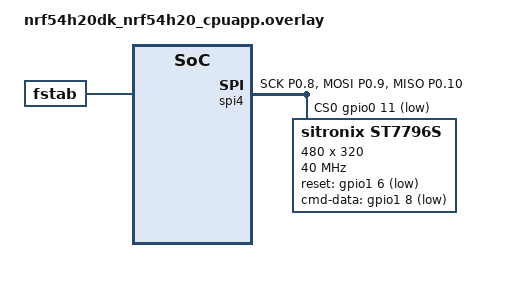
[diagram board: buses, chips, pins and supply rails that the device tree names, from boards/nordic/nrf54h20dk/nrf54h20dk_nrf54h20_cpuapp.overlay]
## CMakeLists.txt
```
# SPDX-License-Identifier: Apache-2.0

cmake_minimum_required(VERSION 3.20.0)

find_package(Zephyr REQUIRED HINTS $ENV{ZEPHYR_BASE})
project(pcd68_zephyr)

# Get the parent directory path for PCD68 sources
get_filename_component(PCD68_ROOT "${CMAKE_CURRENT_SOURCE_DIR}/.." ABSOLUTE)

# Add include directories
target_include_directories(app PRIVATE 
    ${PCD68_ROOT}/src
    ${PCD68_ROOT}/src/Moira
    ${CMAKE_CURRENT_SOURCE_DIR}/src
)

# Core PCD68 sources (relative to parent directory)
if(CONFIG_PCD68_USE_LIGHTWEIGHT_VM)
    # Use lightweight VM for embedded targets with limited flash
    target_sources(app PRIVATE
        ${PCD68_ROOT}/src/PCD68_VM.cpp
        ${PCD68_ROOT}/src/TDA.cpp
        ${PCD68_ROOT}/src/KCTL.cpp
        ${PCD68_ROOT}/src/Screen.cpp
    )
else()
    # Use full Moira 68000 emulator
    target_sources(app PRIVATE
        ${PCD68_ROOT}/src/PCD68_CPU.cpp
        ${PCD68_ROOT}/src/TDA.cpp
        ${PCD68_ROOT}/src/KCTL.cpp
        ${PCD68_ROOT}/src/Screen.cpp
        ${PCD68_ROOT}/src/Moira/Moira.cpp
        ${PCD68_ROOT}/src/Moira/MoiraDebugger.cpp
    )
endif()

# Zephyr-specific implementations
target_sources(app PRIVATE
    src/main.cpp
    src/Screen_Zephyr.cpp
    src/Storage_Zephyr.cpp
    src/UART_Zephyr.cpp
)

# Conditional keyboard input implementation
if(CONFIG_PCD68_KEYBOARD_TYPE STREQUAL "BLE_GATT")
    target_sources(app PRIVATE src/KeyboardInput_BLE.cpp)
else()
    target_sources(app PRIVATE src/KeyboardInput_Zephyr.cpp)
endif()

# Set C++ standard
set_property(TARGET app PROPERTY CXX_STANDARD 17)

# Compiler flags for the 68000 emulation - debug build
target_compile_options(app PRIVATE
    -Wno-narrowing
    -DUSE_ZEPHYR=1
    -DNRF54H20_TARGET=1
    -Og               # Debug-friendly optimization
    -g3               # Maximum debug info
    -fno-omit-frame-pointer  # Keep frame pointers for debugging
    -fno-exceptions
    -fno-rtti
    # Removed -flto and aggressive optimizations for debugging
)

# For nRF54H20 specific optimizations - let Zephyr handle floating-point ABI
if(CONFIG_SOC_SERIES_NRF54HX)
    target_compile_options(app PRIVATE
        -mcpu=cortex-m33
        -mthumb
        # Let Zephyr handle floating-point settings to avoid ABI conflicts
    )
endif()
```

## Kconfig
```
# PCD68 Zephyr Configuration

mainmenu "PCD68 Emulator Configuration"

config PCD68_RAM_SIZE_MB
    int "RAM size in megabytes"
    default 4
    range 1 8
    help
      Amount of RAM to allocate for the emulated system in megabytes.
      Default is 4MB which matches the original PCD68 specification.

config PCD68_ROM_SIZE_KB
    int "ROM size in kilobytes"
    default 64
    range 32 256
    help
      Size of ROM space in kilobytes. Default is 64KB.

config PCD68_ENABLE_EINK_EMULATION
    bool "Enable E-Ink display emulation"
    default y
    help
      Enable E-Ink display characteristics emulation (ghosting, refresh delays).
      Disable for faster display updates.

config PCD68_EINK_PARTIAL_REFRESH
    bool "Enable E-Ink partial refresh"
    default y
    depends on PCD68_ENABLE_EINK_EMULATION
    help
      Enable partial refresh for E-paper displays to reduce ghosting
      and improve battery life. Only refreshes changed regions.

config PCD68_EINK_REFRESH_RATE_MS
    int "E-Ink refresh rate in milliseconds"
    default 2000
    range 100 10000
    depends on PCD68_ENABLE_EINK_EMULATION
    help
      Minimum time between full E-paper refreshes in milliseconds.
      Typical values: 1000-5000ms for E-paper, 33ms for LCD.

config PCD68_EINK_PARTIAL_THRESHOLD
    int "Partial refresh threshold percentage"
    default 25
    range 1 100
    depends on PCD68_EINK_PARTIAL_REFRESH
    help
      Maximum percentage of screen that can change before forcing
      a full refresh instead of partial refresh. Lower values
      favor partial refreshes.

config PCD68_EINK_GHOSTING_EMULATION
    bool "Enable E-Ink ghosting emulation"
    default n
    depends on PCD68_ENABLE_EINK_EMULATION
    help
      Emulate E-paper ghosting effects for authentic retro feel.
      May impact performance.

config PCD68_DISPLAY_DRIVER
    string "Display driver selection"
    default "ST7796S" if BOARD_NRF54H20DK_NRF54H20_CPUAPP
    default "ILI9341" if BOARD_ESP32S3_DEVKITM
    help
      Select the display driver to use. Options include:
      - ST7796S (480x320 SPI LCD, 4-inch)
      - ILI9341 (320x240 SPI LCD)
      - EPD (E-paper display)
      - SSD1306 (OLED)

config PCD68_DISPLAY_SPI_FREQUENCY
    int "Display SPI frequency in Hz"
    default 32000000 if BOARD_NRF54H20DK_NRF54H20_CPUAPP
    default 40000000
    range 1000000 80000000
    help
      SPI frequency for display communication in Hz.

config PCD68_KEYBOARD_TYPE
    string "Keyboard input type"
    default "BLE_GATT" if BOARD_NRF54H20DK_NRF54H20_CPUAPP
    default "USB_HID"
    help
      Select keyboard input method:
      - BLE_GATT (Bluetooth GATT HID keyboard)
      - USB_HID (USB keyboard via ESP32-S3 USB host)
      - I2C_KEYBOARD (I2C-based keyboard controller)
      - UART_TERMINAL (Serial terminal input)
      - MATRIX (GPIO matrix keyboard)

config PCD68_KEYBOARD_TYPE_BLE_GATT
    bool
    default y if PCD68_KEYBOARD_TYPE = "BLE_GATT"
    help
      Internal configuration option for BLE GATT keyboard type.

config PCD68_ENABLE_UART1
    bool "Enable UART1"
    default y
    help
      Enable the first UART peripheral.

config PCD68_ENABLE_UART2
    bool "Enable UART2"
    default n
    help
      Enable the second UART peripheral.

config PCD68_UART1_DEVICE
    string "UART1 device"
    default "UART_2"
    depends on PCD68_ENABLE_UART1
    help
      Device name for UART1 (e.g., UART_2 for ESP32-S3).

config PCD68_UART2_DEVICE
    string "UART2 device"
    default "UART_1"
    depends on PCD68_ENABLE_UART2
    help
      Device name for UART2.

config PCD68_STORAGE_TYPE
    string "Storage type for ROMs"
    default "FLASH"
    help
      Storage location for ROM files:
      - FLASH (Internal flash partition)
      - SDCARD (SD card via SPI)
      - LITTLEFS (LittleFS filesystem)

config PCD68_DEFAULT_ROM
    string "Default ROM to load"
    default "jonsharp.bin"
    help
      Name of the default ROM file to load at startup.

config PCD68_ENABLE_WIFI
    bool "Enable WiFi support"
    default n
    select WIFI
    select WIFI_ESP32
    help
      Enable WiFi for network features (future: telnet, file transfer).

config PCD68_ENABLE_BLUETOOTH
    bool "Enable Bluetooth support"
    default n
    select BT
    select BT_PERIPHERAL
    help
      Enable Bluetooth for wireless keyboard/serial support.

config PCD68_CPU_THROTTLE
    bool "Enable CPU throttling"
    default y
    help
      Throttle the 68000 CPU to approximate original speed.
      Disable for maximum emulation speed.

config PCD68_TARGET_CPU_MHZ
    int "Target CPU speed in MHz"
    default 8
    range 1 16
    depends on PCD68_CPU_THROTTLE
    help
      Target 68000 CPU speed in MHz for throttling.

config PCD68_DEBUG_LEVEL
    int "Debug output level"
    default 1
    range 0 3
    help
      Debug output verbosity:
      0 - No debug output
      1 - Basic status messages
      2 - Detailed peripheral access
      3 - Full CPU trace

config PCD68_USE_LIGHTWEIGHT_VM
    bool "Use lightweight VM instead of full 68000 emulation"
    default y if SOC_SERIES_NRF54HX
    help
      Use a lightweight bytecode VM instead of full Moira 68000 emulation.
      This drastically reduces flash usage but requires programs to be
      compiled to VM bytecode instead of native 68000 machine code.

source "Kconfig.zephyr"
```

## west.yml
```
manifest:
  version: "0.13"

  projects:
    # Use local nRF Connect SDK 3.1-branch
    - name: nrf
      url: file:///mnt2/src/sdk-nrf
      revision: v3.1-branch
      import: true

  self:
    path: zephyr-pcd68-nrf54
```

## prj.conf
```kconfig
# nRF54H20-DK Configuration for PCD68 Model 4 CyberTerminal

# Board configuration - let west handle board selection

# System - minimal for flash size
CONFIG_MAIN_STACK_SIZE=2048
CONFIG_SYSTEM_WORKQUEUE_STACK_SIZE=1024
CONFIG_HEAP_MEM_POOL_SIZE=8192

# C++ Support
CONFIG_CPP=y
CONFIG_STD_CPP17=y
CONFIG_CPP_EXCEPTIONS=n
CONFIG_CPP_RTTI=n

# Logging - verbose for debugging
CONFIG_LOG=y
CONFIG_LOG_DEFAULT_LEVEL=3
CONFIG_LOG_BUFFER_SIZE=2048
CONFIG_LOG_PRINTK=y
# Log string duplication settings (removed - not available in this version)

# Console - enabled for debugging
CONFIG_CONSOLE=y
CONFIG_UART_CONSOLE=y
CONFIG_SERIAL=y
# RTT console for J-Link debugging - disabled due to dependency issues
# CONFIG_USE_SEGGER_RTT=y
# CONFIG_RTT_CONSOLE=y

# SPI for Display
CONFIG_SPI=y
CONFIG_SPI_NRFX=y
CONFIG_GPIO=y

# Display Subsystem - temporarily disabled due to ST7796S driver compatibility
CONFIG_DISPLAY=n

# ST7796S LCD Display Driver (4" 480x320) - temporarily disabled
# CONFIG_ST7796S=y

# Bluetooth Support - temporarily disabled to save flash
# Will re-enable after getting basic emulator working
CONFIG_BT=n
# CONFIG_BT_CENTRAL=y
# CONFIG_BT_GATT_CLIENT=y
# CONFIG_BT_DEVICE_NAME="PCD68-Model4"
# CONFIG_BT_DEVICE_APPEARANCE=768
# CONFIG_BT_MAX_CONN=1
# CONFIG_BT_MAX_PAIRED=1
# CONFIG_BT_HOGP=y
# CONFIG_BT_HOGP_REPORTS_MAX=1
# CONFIG_BT_SCAN=y
# CONFIG_BT_SCAN_FILTER_ENABLE=n
# CONFIG_BT_SCAN_UUID_CNT=1
# CONFIG_BT_GATT_DM=y
# CONFIG_BT_SETTINGS=n
# CONFIG_BT_SMP=n
# CONFIG_BT_PRIVACY=n

# Flash & Storage - minimal (no persistent settings needed)
CONFIG_FLASH=y
CONFIG_FLASH_MAP=y
CONFIG_FLASH_PAGE_LAYOUT=y
# Disable NVS and Settings subsystem to save space
CONFIG_NVS=n
CONFIG_SETTINGS=n

# File Systems - temporarily disabled to save space
# CONFIG_FILE_SYSTEM=y
# CONFIG_FILE_SYSTEM_LITTLEFS=y
# CONFIG_FILE_SYSTEM_MKFS=y

# Timing
CONFIG_COUNTER=y

# Debug configuration for J-Link debugging
CONFIG_SIZE_OPTIMIZATIONS=n
CONFIG_DEBUG_OPTIMIZATIONS=y
CONFIG_DEBUG_INFO=y
# Enable debug symbols and DWARF debugging

# PCD68 Specific Configuration - reduced for nRF54H20
CONFIG_PCD68_RAM_SIZE_MB=1
CONFIG_PCD68_ROM_SIZE_KB=32

# Display Configuration
CONFIG_PCD68_ENABLE_EINK_EMULATION=n
CONFIG_PCD68_DISPLAY_DRIVER="ST7796S"
CONFIG_PCD68_DISPLAY_SPI_FREQUENCY=40000000

# Input Configuration - stub for now
CONFIG_PCD68_KEYBOARD_TYPE="STUB"

# Peripheral Configuration
CONFIG_PCD68_ENABLE_UART1=y
CONFIG_PCD68_ENABLE_UART2=n

# Storage Configuration
CONFIG_PCD68_STORAGE_TYPE="LITTLEFS"
CONFIG_PCD68_DEFAULT_ROM="frst_net.bin"

# CPU Emulation Configuration - Higher performance for Cortex-M33
CONFIG_PCD68_CPU_THROTTLE=y
CONFIG_PCD68_TARGET_CPU_MHZ=12
CONFIG_PCD68_DEBUG_LEVEL=3
CONFIG_PCD68_USE_LIGHTWEIGHT_VM=n

# Power Management (disabled for consistent emulation)
CONFIG_PM=n

# Watchdog - disable to save space
CONFIG_WATCHDOG=n

# Nordic nRF54H20 specific
CONFIG_NORDIC_QSPI_NOR=n

# Disable unnecessary Zephyr subsystems to save flash space (safe options only)
CONFIG_POSIX_API=n
CONFIG_REQUIRES_FULL_LIBC=n
CONFIG_NEWLIB_LIBC=n

# Enable debugging features
CONFIG_THREAD_MONITOR=y
CONFIG_THREAD_NAME=y
CONFIG_THREAD_RUNTIME_STATS=y
CONFIG_THREAD_ANALYZER=y
# Enable kernel object tracing for debugging - disabled (not available in this Zephyr version)
# CONFIG_OBJECT_TRACING=y

# Enable shell for debugging
CONFIG_SHELL=y
# Boot banner disabled due to dependency conflicts
# CONFIG_BOOT_BANNER=y
# Shell history for easier debugging
CONFIG_SHELL_HISTORY=y
CONFIG_SHELL_HISTORY_BUFFER=512

# Disable advanced timing features not needed
CONFIG_SYS_CLOCK_EXISTS=y
CONFIG_TICKLESS_KERNEL=n

# Disable additional features to save space
CONFIG_TEST=n
CONFIG_ZTEST=n
CONFIG_COVERAGE=n
CONFIG_INPUT=n

# Minimal interrupt handling
CONFIG_DYNAMIC_INTERRUPTS=n
CONFIG_GEN_IRQ_VECTOR_TABLE=y
CONFIG_IRQ_OFFLOAD=n

# Disable other non-essential features
CONFIG_PIPES=n
CONFIG_STACK_CANARIES=n
```

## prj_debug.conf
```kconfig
# nRF54H20-DK Debug Configuration for PCD68 Model 4 CyberTerminal

# Board configuration - let west handle board selection

# System - debug-friendly
CONFIG_MAIN_STACK_SIZE=4096
CONFIG_SYSTEM_WORKQUEUE_STACK_SIZE=2048
CONFIG_HEAP_MEM_POOL_SIZE=16384

# C++ Support
CONFIG_CPP=y
CONFIG_STD_CPP17=y
CONFIG_CPP_EXCEPTIONS=n
CONFIG_CPP_RTTI=n

# Logging - verbose for debugging
CONFIG_LOG=y
CONFIG_LOG_DEFAULT_LEVEL=3
CONFIG_LOG_BUFFER_SIZE=2048

# Console - enabled for debugging
CONFIG_CONSOLE=y
CONFIG_UART_CONSOLE=y
CONFIG_SERIAL=y

# RTT for debugging
CONFIG_USE_SEGGER_RTT=y
CONFIG_RTT_CONSOLE=y
CONFIG_LOG_BACKEND_RTT=y

# SPI for Display
CONFIG_SPI=y
CONFIG_SPI_NRFX=y
CONFIG_GPIO=y

# Display Subsystem
CONFIG_DISPLAY=y

# Flash & Storage
CONFIG_FLASH=y
CONFIG_FLASH_MAP=y
CONFIG_FLASH_PAGE_LAYOUT=y
CONFIG_NVS=n
CONFIG_SETTINGS=n

# Timing
CONFIG_COUNTER=y

# Debug configuration - minimal but effective
CONFIG_DEBUG_INFO=y
CONFIG_SIZE_OPTIMIZATIONS=n

# PCD68 Specific Configuration
CONFIG_PCD68_RAM_SIZE_MB=1
CONFIG_PCD68_ROM_SIZE_KB=32

# Display Configuration
CONFIG_PCD68_ENABLE_EINK_EMULATION=n
CONFIG_PCD68_DISPLAY_DRIVER="ST7796S"
CONFIG_PCD68_DISPLAY_SPI_FREQUENCY=40000000

# Input Configuration - stub for initial testing
CONFIG_PCD68_KEYBOARD_TYPE="STUB"

# Peripheral Configuration
CONFIG_PCD68_ENABLE_UART1=y
CONFIG_PCD68_ENABLE_UART2=n

# Storage Configuration
CONFIG_PCD68_STORAGE_TYPE="LITTLEFS"
CONFIG_PCD68_DEFAULT_ROM="frst_net.bin"

# CPU Emulation Configuration
CONFIG_PCD68_CPU_THROTTLE=y
CONFIG_PCD68_TARGET_CPU_MHZ=12
CONFIG_PCD68_DEBUG_LEVEL=3
CONFIG_PCD68_USE_LIGHTWEIGHT_VM=n

# Power Management (disabled for consistent emulation)
CONFIG_PM=n

# Watchdog - disable to save space
CONFIG_WATCHDOG=n

# Nordic nRF54H20 specific
CONFIG_NORDIC_QSPI_NOR=n

# Enable basic debugging features
CONFIG_THREAD_MONITOR=y
CONFIG_THREAD_NAME=y
CONFIG_SHELL=y
CONFIG_BOOT_BANNER=y

# Disable unnecessary subsystems for cleaner debug
CONFIG_POSIX_API=n
CONFIG_REQUIRES_FULL_LIBC=n
CONFIG_NEWLIB_LIBC=n
CONFIG_TICKLESS_KERNEL=n
CONFIG_TEST=n
CONFIG_ZTEST=n
CONFIG_COVERAGE=n
CONFIG_INPUT=n
CONFIG_DYNAMIC_INTERRUPTS=n
CONFIG_GEN_IRQ_VECTOR_TABLE=y
CONFIG_IRQ_OFFLOAD=n
CONFIG_PIPES=n
CONFIG_STACK_CANARIES=n
```

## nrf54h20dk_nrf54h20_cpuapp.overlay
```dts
/*
 * SPDX-License-Identifier: Apache-2.0
 *
 * Device Tree overlay for PCD68 Model 4 CyberTerminal
 * nRF54H20-DK without display (temporarily disabled)
 */

/ {
    chosen {
        /* Display temporarily disabled */
    };

    aliases {
        /* Display temporarily disabled */
    };
    
    fstab {
        compatible = "zephyr,fstab";
        lfs1: lfs1 {
            compatible = "zephyr,fstab,littlefs";
            mount-point = "/lfs1";
            partition = <&storage_partition>;
            automount;
            read-size = <16>;
            prog-size = <16>;
            cache-size = <64>;
            lookahead-size = <32>;
            block-cycles = <512>;
        };
    };
};

/*
 * MODEL 4 CYBERTERMINAL - OPTIMIZED PARTITION LAYOUT
 * Relocates VPR cores to maximize PCD68 application space
 * Research confirmed VPR partitions are device tree configurable!
 */
&mram1x {
    partitions {
        compatible = "fixed-partitions";
        #address-cells = <1>;
        #size-cells = <1>;

        /* Delete ALL default partitions to redefine layout */
        /delete-node/ partition@30000;
        /delete-node/ partition@40000;
        /delete-node/ partition@92000;
        /delete-node/ partition@e4000;
        /delete-node/ partition@f4000;
        /delete-node/ partition@100000;
        /delete-node/ partition@152000;
        /delete-node/ partition@1a4000;
        /delete-node/ partition@1ae000;

        /* BOOTLOADER - Required by system */
        boot_partition: partition@30000 {
            reg = <0x30000 DT_SIZE_K(64)>; /* 64KB @ 0x30000-0x40000 */
        };

        /* PCD68 MAIN APP - 700KB for emulation core */
        slot0_partition: partition@40000 {
            label = "image-0";
            reg = <0x40000 DT_SIZE_K(700)>; /* 700KB @ 0x40000-0xef000 */
        };

        /* PPR CORE - Relocated, minimal size */
        cpuppr_code_partition: partition@ef000 {
            reg = <0xef000 DT_SIZE_K(20)>; /* 20KB @ 0xef000-0xf4000 */
        };

        /* FLPR CORE - Keep at original location */
        cpuflpr_code_partition: partition@f4000 {
            reg = <0xf4000 DT_SIZE_K(48)>; /* 48KB @ 0xf4000-0x100000 */
        };

        /* RADIO CORE - For BLE keyboard functionality */
        cpurad_slot0_partition: partition@100000 {
            reg = <0x100000 DT_SIZE_K(256)>; /* 256KB @ 0x100000-0x140000 */
        };

        /* STORAGE - LittleFS for application data */
        storage_partition: partition@140000 {
            label = "storage";
            reg = <0x140000 DT_SIZE_K(400)>; /* 400KB @ 0x140000-0x1a4000 */
        };

        /* PERIPHERAL CONFIG - Keep original */
        periphconf_partition: partition@1a4000 {
            reg = <0x1a4000 DT_SIZE_K(40)>; /* 40KB @ 0x1a4000-0x1ae000 */
        };
    };
};

/* Use the standard slot0_partition reference */
/ {
    chosen {
        zephyr,code-partition = &slot0_partition;
    };
};

/* Display and SPI temporarily disabled for basic emulation testing */
/*
&pinctrl {
    spi120_default: spi120_default {
        group1 {
            psels = <NRF_PSEL(SPIM_SCK, 0, 8)>,
                    <NRF_PSEL(SPIM_MOSI, 0, 9)>,
                    <NRF_PSEL(SPIM_MISO, 0, 10)>;
        };
    };

    spi120_sleep: spi120_sleep {
        group1 {
            psels = <NRF_PSEL(SPIM_SCK, 0, 8)>,
                    <NRF_PSEL(SPIM_MOSI, 0, 9)>,
                    <NRF_PSEL(SPIM_MISO, 0, 10)>;
            low-power-enable;
        };
    };
};

&spi120 {
    status = "okay";
    pinctrl-0 = <&spi120_default>;
    pinctrl-1 = <&spi120_sleep>;
    pinctrl-names = "default", "sleep";
    cs-gpios = <&gpio0 11 GPIO_ACTIVE_LOW>;

    st7796s: st7796s@0 {
        compatible = "sitronix,st7796s";
        reg = <0>;
        mipi-max-frequency = <40000000>;
        cmd-data-gpios = <&gpio1 8 GPIO_ACTIVE_LOW>;
        reset-gpios = <&gpio1 6 GPIO_ACTIVE_LOW>;
        width = <480>;
        height = <320>;
        x-offset = <0>;
        y-offset = <0>;

        pgc = <0xd0 0x00 0x05 0x0e 0x15 0x0d 0x37 0x43 0x47 0x09 0x15 0x12 0x16 0x19>;
        ngc = <0xd0 0x00 0x05 0x0d 0x0c 0x06 0x2d 0x44 0x40 0e 0x1c 0x18 0x16 0x19>;
    };
};
*/
```

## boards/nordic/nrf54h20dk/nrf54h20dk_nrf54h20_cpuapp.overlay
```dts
/*
 * SPDX-License-Identifier: Apache-2.0
 *
 * Device Tree overlay for PCD68 Model 4 CyberTerminal
 * nRF54H20-DK with ST7796S 4" 480x320 LCD Display
 */

/ {
    chosen {
        zephyr,display = &st7796s;
    };
    
    aliases {
        display0 = &st7796s;
    };
    
    fstab {
        compatible = "zephyr,fstab";
        lfs1: lfs1 {
            compatible = "zephyr,fstab,littlefs";
            mount-point = "/lfs1";
            partition = <&storage_partition>;
            automount;
            read-size = <16>;
            prog-size = <16>;
            cache-size = <64>;
            lookahead-size = <32>;
            block-cycles = <512>;
        };
    };
};

&spi4 {
    status = "okay";
    compatible = "nordic,nrf-spim";
    pinctrl-0 = <&spi4_default>;
    pinctrl-1 = <&spi4_sleep>;
    pinctrl-names = "default", "sleep";
    cs-gpios = <&gpio0 11 GPIO_ACTIVE_LOW>;
    
    st7796s: st7796s@0 {
        compatible = "sitronix,st7796s";
        status = "okay";
        reg = <0>;
        spi-max-frequency = <40000000>;
        reset-gpios = <&gpio1 6 GPIO_ACTIVE_LOW>;
        cmd-data-gpios = <&gpio1 8 GPIO_ACTIVE_LOW>;
        width = <480>;
        height = <320>;
        pixel-format = <1>; /* RGB565 = 1, RGB888 = 2, Mono = 0 */
        rotation = <90>; /* Landscape mode */
        /* ST7796S specific initialization */
        madctl = <0x48>; /* MY=0, MX=1, MV=0, ML=0, BGR=1, MH=0 */
        colmod = <0x55>; /* 16-bit RGB565 */
        porctrl = [0c 0c 00 33 33];
        gctrl = [35];
        vcoms = [1f];
        lcmctrl = [2c];
        vdvvrhen = [01];
        vrhs = [12];
        vdvs = [20];
        pwctrl1 = [a4 a1];
        frctrl2 = [0f];
        gmctrp1 = [d0 04 0d 11 13 2b 3f 54 4c 18 0d 0b 1f 23];
        gmctrn1 = [d0 04 0c 11 13 2c 3f 44 51 2f 1f 1f 20 23];
    };
};

/* SPI4 configuration already defined above */

&pinctrl {
    spi4_default: spi4_default {
        group1 {
            psels = <NRF_PSEL(SPIM_SCK, 0, 8)>,
                    <NRF_PSEL(SPIM_MOSI, 0, 9)>,
                    <NRF_PSEL(SPIM_MISO, 0, 10)>;
        };
    };

    spi4_sleep: spi4_sleep {
        group1 {
            psels = <NRF_PSEL(SPIM_SCK, 0, 8)>,
                    <NRF_PSEL(SPIM_MOSI, 0, 9)>,
                    <NRF_PSEL(SPIM_MISO, 0, 10)>;
            low-power-enable;
        };
    };
};

/* GPIO configuration for display control pins */
&gpio0 {
    status = "okay";
};

/* Increase SPI buffer sizes for display */
&spi4 {
    /delete-property/ tx-buffer-size;
    /delete-property/ rx-buffer-size;
    tx-buffer-size = <4096>;
    rx-buffer-size = <4096>;
};

/* Flash partitions for storage */
&flash0 {
    partitions {
        compatible = "fixed-partitions";
        #address-cells = <1>;
        #size-cells = <1>;

        /* Reserve space for LittleFS storage */
        storage_partition: partition@f0000 {
            label = "storage";
            reg = <0x000f0000 0x00010000>;
        };
    };
};
```

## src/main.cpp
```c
#include <zephyr/kernel.h>
#include <zephyr/device.h>
#include <zephyr/drivers/display.h>
#include <zephyr/drivers/gpio.h>
#include <zephyr/drivers/spi.h>
#include <zephyr/logging/log.h>
#include <zephyr/sys/printk.h>
// File system headers temporarily disabled
// #include <zephyr/storage/flash_map.h>
// #include <zephyr/fs/fs.h>
// #include <zephyr/fs/littlefs.h>

#ifdef CONFIG_PCD68_USE_LIGHTWEIGHT_VM
#include "PCD68_VM.h"
#else
#include "PCD68_CPU.h"
#endif
#include "TDA.h"
#include "KCTL.h"
#include "UART.h"
#include "Screen_Zephyr.h"
#ifdef CONFIG_PCD68_KEYBOARD_TYPE_BLE_GATT
#include "KeyboardInput_BLE.h"
#else
#include "KeyboardInput_Zephyr.h"
#endif
#include "Storage_Zephyr.h"

LOG_MODULE_REGISTER(pcd68_main, CONFIG_PCD68_DEBUG_LEVEL);

// Global emulator components
u8* systemRom = nullptr;
u8* systemRam = nullptr;
#ifdef CONFIG_PCD68_USE_LIGHTWEIGHT_VM
static pcd68::PCD68_VM* pcdCpu = nullptr;
#else
static CPU* pcdCpu = nullptr;
#endif
static TDA* textDisplayAdapter = nullptr;
static KCTL* keyboardController = nullptr;
static UART* uartController = nullptr;
static Screen_Zephyr* pcdScreen = nullptr;
#ifdef CONFIG_PCD68_KEYBOARD_TYPE_BLE_GATT
static KeyboardInput_BLE* keyboardInput = nullptr;
#else
static KeyboardInput_Zephyr* keyboardInput = nullptr;
#endif
static Storage_Zephyr* storage = nullptr;

// Emulation timing
static uint32_t cycles_per_iteration = 1000;
static uint32_t target_cpu_hz = CONFIG_PCD68_TARGET_CPU_MHZ * 1000000;
static uint32_t iteration_delay_us = (cycles_per_iteration * 1000000) / target_cpu_hz;

// Thread stacks
K_THREAD_STACK_DEFINE(emulation_stack, 8192);
K_THREAD_STACK_DEFINE(display_stack, 4096);
K_THREAD_STACK_DEFINE(input_stack, 2048);

struct k_thread emulation_thread;
struct k_thread display_thread;
struct k_thread input_thread;

// Synchronization
K_SEM_DEFINE(display_sem, 0, 1);
K_MUTEX_DEFINE(cpu_mutex);

// Display refresh rate (Hz)
#define DISPLAY_REFRESH_RATE 30
#define DISPLAY_REFRESH_MS (1000 / DISPLAY_REFRESH_RATE)

// Forward declarations
void emulation_thread_entry(void *p1, void *p2, void *p3);
void display_thread_entry(void *p1, void *p2, void *p3);
void input_thread_entry(void *p1, void *p2, void *p3);

static int init_hardware(void)
{
    LOG_INF("Initializing hardware for PCD68 on nRF54H20");

    // Display is temporarily disabled for basic emulation testing
    LOG_INF("Display: temporarily disabled - focusing on emulation core");

    return 0;
}

static int init_storage(void)
{
    LOG_INF("Initializing storage");
    
    storage = new Storage_Zephyr();
    if (!storage->init()) {
        LOG_ERR("Failed to initialize storage");
        return -EIO;
    }
    
    return 0;
}

static int load_rom(const char *rom_filename)
{
    LOG_INF("Loading ROM: %s", rom_filename);
    
    size_t rom_size = CONFIG_PCD68_ROM_SIZE_KB * 1024;
    systemRom = new u8[rom_size];
    memset(systemRom, 0xFF, rom_size);
    
    // Try to load ROM from storage
    if (!storage->loadRom(rom_filename, systemRom, rom_size)) {
        LOG_WRN("Failed to load ROM from storage, using default pattern");
        // Initialize with a basic pattern or embedded ROM
        // For now, just a simple infinite loop at reset vector
        systemRom[0] = 0x00;  // Initial SP high
        systemRom[1] = 0x00;
        systemRom[2] = 0x10;
        systemRom[3] = 0x00;  // Initial SP low (0x001000)
        systemRom[4] = 0x00;  // Initial PC high
        systemRom[5] = 0x00;
        systemRom[6] = 0x00;
        systemRom[7] = 0x08;  // Initial PC low (0x000008)
        // Simple infinite loop: BRA.S *
        systemRom[8] = 0x60;
        systemRom[9] = 0xFE;
    }
    
    return 0;
}

static int init_emulator(void)
{
    LOG_INF("Initializing PCD68 emulator components");
    
    // Allocate RAM
    size_t ram_size = CONFIG_PCD68_RAM_SIZE_MB * 1024 * 1024;
    systemRam = new u8[ram_size];
    if (!systemRam) {
        LOG_ERR("Failed to allocate %d MB RAM", CONFIG_PCD68_RAM_SIZE_MB);
        return -ENOMEM;
    }
    memset(systemRam, 0, ram_size);
    
    // Load ROM
    int ret = load_rom(CONFIG_PCD68_DEFAULT_ROM);
    if (ret < 0) {
        return ret;
    }
    
    // Create CPU
#ifdef CONFIG_PCD68_USE_LIGHTWEIGHT_VM
    pcdCpu = new pcd68::PCD68_VM();
    pcdCpu->init(systemRom, CONFIG_PCD68_ROM_SIZE_KB * 1024, systemRam, ram_size);
#else
    pcdCpu = new CPU();
    // System ROM and RAM are global variables used by the emulator
#endif
    
    // Create Zephyr-specific screen implementation first
    pcdScreen = new Screen_Zephyr(0x810000);
    pcdScreen->init();
    
    // Create peripherals with proper constructor parameters
#ifdef CONFIG_PCD68_USE_LIGHTWEIGHT_VM
    // For VM, pass nullptr as CPU parameter since VM handles differently
    textDisplayAdapter = new TDA(nullptr, pcdScreen, 0x410000, 0x1000);
    keyboardController = new KCTL(nullptr, 0x420000, 0x1000);
    uartController = new UART(nullptr, 0x450000, 0x1000);
#else
    textDisplayAdapter = new TDA(pcdCpu, pcdScreen, 0x410000, 0x1000);
    keyboardController = new KCTL(pcdCpu, 0x420000, 0x1000);
    uartController = new UART(pcdCpu, 0x450000, 0x1000);
#endif
    
    // Create keyboard input based on configuration
#ifdef CONFIG_PCD68_KEYBOARD_TYPE_BLE_GATT
    keyboardInput = new KeyboardInput_BLE();
#else
    keyboardInput = new KeyboardInput_Zephyr();
#endif
    keyboardInput->init();
    keyboardInput->setKeyboardController(keyboardController);
    
    // Attach peripherals to CPU
#ifdef CONFIG_PCD68_USE_LIGHTWEIGHT_VM
    pcdCpu->registerPeripheral(0x410000, textDisplayAdapter);
    pcdCpu->registerPeripheral(0x420000, keyboardController);
    pcdCpu->registerPeripheral(0x450000, uartController);
    pcdCpu->registerPeripheral(0x810000, pcdScreen);
#else
    pcdCpu->attachPeripheral(textDisplayAdapter);
    pcdCpu->attachPeripheral(keyboardController);
    pcdCpu->attachPeripheral(uartController);
    pcdCpu->attachPeripheral(pcdScreen);
#endif
    
    // Reset CPU
    pcdCpu->reset();
#ifndef CONFIG_PCD68_USE_LIGHTWEIGHT_VM
    pcdCpu->setIPL(0x00);
#endif
    
    LOG_INF("Emulator initialized successfully");
    return 0;
}

void emulation_thread_entry(void *p1, void *p2, void *p3)
{
    ARG_UNUSED(p1);
    ARG_UNUSED(p2);
    ARG_UNUSED(p3);
    
    LOG_INF("Emulation thread started");
    
    uint32_t last_time = k_uptime_get_32();
    uint32_t cycles_executed = 0;
    
    while (1) {
        k_mutex_lock(&cpu_mutex, K_FOREVER);
        
        // Execute CPU cycles
#ifdef CONFIG_PCD68_USE_LIGHTWEIGHT_VM
        pcdCpu->run(cycles_per_iteration);
#else
        pcdCpu->execute();
#endif
        cycles_executed += cycles_per_iteration;
        
        // Interrupt handling is done by KCTL automatically via CPU reference
        
        k_mutex_unlock(&cpu_mutex);
        
        // Throttle CPU if enabled
        if (CONFIG_PCD68_CPU_THROTTLE) {
            k_usleep(iteration_delay_us);
        } else {
            k_yield();  // Just yield to other threads
        }
        
        // Periodic status
        uint32_t now = k_uptime_get_32();
        if (now - last_time >= 1000) {
            LOG_DBG("CPU: %u cycles/sec", cycles_executed);
            cycles_executed = 0;
            last_time = now;
        }
    }
}

void display_thread_entry(void *p1, void *p2, void *p3)
{
    ARG_UNUSED(p1);
    ARG_UNUSED(p2);
    ARG_UNUSED(p3);
    
    LOG_INF("Display thread started");
    
    while (1) {
        // Update display if needed
        if (pcdScreen->needsRefresh()) {
            k_mutex_lock(&cpu_mutex, K_FOREVER);
            pcdScreen->refresh();
            k_mutex_unlock(&cpu_mutex);
        }
        
        k_msleep(DISPLAY_REFRESH_MS);
    }
}

void input_thread_entry(void *p1, void *p2, void *p3)
{
    ARG_UNUSED(p1);
    ARG_UNUSED(p2);
    ARG_UNUSED(p3);
    
    LOG_INF("Input thread started");
    
    while (1) {
        // Poll for keyboard input
        keyboardInput->poll();
        
        // Small delay to avoid excessive polling
        k_msleep(10);
    }
}

int main(void)
{
    printk("PCD68 Model 4 CyberTerminal for nRF54H20\n");
    printk("ROM: %dKB, RAM: %dMB, CPU: %dMHz\n",
           CONFIG_PCD68_ROM_SIZE_KB, CONFIG_PCD68_RAM_SIZE_MB, CONFIG_PCD68_TARGET_CPU_MHZ);

    // Initialize hardware
    int ret = init_hardware();
    if (ret < 0) {
        LOG_ERR("Hardware initialization failed: %d", ret);
        return ret;
    }

    // Initialize storage
    ret = init_storage();
    if (ret < 0) {
        LOG_ERR("Storage initialization failed: %d", ret);
        return ret;
    }

    // Initialize emulator components
    ret = init_emulator();
    if (ret < 0) {
        LOG_ERR("Emulator initialization failed: %d", ret);
        return ret;
    }

    // Create threads
    k_tid_t emulation_tid = k_thread_create(&emulation_thread,
                                            emulation_stack,
                                            K_THREAD_STACK_SIZEOF(emulation_stack),
                                            emulation_thread_entry,
                                            NULL, NULL, NULL,
                                            K_PRIO_PREEMPT(5),
                                            0, K_NO_WAIT);
    k_thread_name_set(emulation_tid, "pcd68_cpu");

    k_tid_t display_tid = k_thread_create(&display_thread,
                                          display_stack,
                                          K_THREAD_STACK_SIZEOF(display_stack),
                                          display_thread_entry,
                                          NULL, NULL, NULL,
                                          K_PRIO_PREEMPT(7),
                                          0, K_NO_WAIT);
    k_thread_name_set(display_tid, "pcd68_display");

    k_tid_t input_tid = k_thread_create(&input_thread,
                                        input_stack,
                                        K_THREAD_STACK_SIZEOF(input_stack),
                                        input_thread_entry,
                                        NULL, NULL, NULL,
                                        K_PRIO_PREEMPT(6),
                                        0, K_NO_WAIT);
    k_thread_name_set(input_tid, "pcd68_input");

    LOG_INF("PCD68 emulation started");
    printk("PCD68 running - press keys to interact\n");

    // Main thread becomes a monitor/heartbeat
    int counter = 0;
    while (1) {
        k_sleep(K_SECONDS(10));
        counter++;
        LOG_INF("System heartbeat %d - uptime: %u ms", counter, k_uptime_get_32());
    }

    return 0;
}
```

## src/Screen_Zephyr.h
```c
#ifndef SCREEN_ZEPHYR_H
#define SCREEN_ZEPHYR_H

#include "Screen.h"
#include <zephyr/device.h>
#include <zephyr/drivers/display.h>

class Screen_Zephyr : public Screen {
public:
    Screen_Zephyr(u32 baseAddress);
    virtual ~Screen_Zephyr();
    
    int init() override;
    int refresh() override;
    bool needsRefresh() const { return dirty; }
    
    // Override Screen virtual methods
    virtual u8 read8(u32 address) override;
    virtual void write8(u32 address, u8 value) override;
    
    // E-paper specific methods
    void setPartialRefresh(bool enabled) { partial_refresh_enabled = enabled; }
    void setRefreshRate(uint32_t rate_ms) { refresh_rate_ms = rate_ms; }
    void forceFullRefresh();
    
private:
    const struct device *display_dev;
    u8 *framebuffer;         // Framebuffer for display output
    u8 *previous_frame;      // Previous frame for dirty detection
    bool dirty;
    bool framebuffer_supported;
    bool is_epaper;
    bool partial_refresh_enabled;
    uint32_t refresh_rate_ms;
    uint32_t last_refresh_time;
    
    int display_width;
    int display_height;
    enum display_pixel_format pixel_format;
    
    // Display management
    bool initFramebuffer();
    bool initDirectDisplay();
    void updateFramebuffer();
    void updateDirectDisplay();
    
    // Format conversion
    void convertMonoToDisplay(u8 *dest, const u8 *src, int width, int height);
    void scaleFrame(u8 *dest, const u8 *src, int dest_w, int dest_h, int src_w, int src_h);
    
    // Centered rendering with decorative border (Super Game Boy style)
    void renderCenteredWithBorder(u8 *dest, const u8 *src, int dest_w, int dest_h);
    uint16_t generateBorderPixel(int x, int y, int display_w, int display_h);
    
    // E-paper optimizations
    void calculateDirtyRegions();
    bool shouldDoPartialRefresh();
    void performPartialRefresh(int x, int y, int width, int height);
    void performFullRefresh();
    
    // Dirty region tracking for E-paper
    struct dirty_region {
        int x, y, width, height;
        bool active;
    } dirty_regions[4];  // Support up to 4 dirty regions
    int dirty_region_count;
};

#endif // SCREEN_ZEPHYR_H
```

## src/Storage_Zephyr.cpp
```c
#include "Storage_Zephyr.h"
#include <zephyr/logging/log.h>
// File system headers temporarily disabled
// #include <zephyr/fs/littlefs.h>
// #include <zephyr/storage/flash_map.h>
#include <string.h>

LOG_MODULE_DECLARE(pcd68_main);

// Static members
struct fs_mount_t Storage_Zephyr::fs_mnt;
char Storage_Zephyr::full_path_buffer[256];

// LittleFS configuration - temporarily disabled
// FS_LITTLEFS_DECLARE_DEFAULT_CONFIG(storage);

Storage_Zephyr::Storage_Zephyr() : initialized(false)
{
}

Storage_Zephyr::~Storage_Zephyr()
{
}

bool Storage_Zephyr::init()
{
    if (initialized) {
        return true;
    }
    
    LOG_INF("Storage temporarily disabled to save flash space");
    initialized = true; // Mark as initialized but don't actually use filesystem
    return true;
    
    /* File system code temporarily disabled
    LOG_INF("Initializing storage");
    
    // Set up mount point
    fs_mnt.type = FS_LITTLEFS;
    fs_mnt.fs_data = &storage;
    fs_mnt.storage_dev = (void *)FIXED_PARTITION_ID(storage_partition);
    fs_mnt.mnt_point = "/pcd68";
    
    int ret = fs_mount(&fs_mnt);
    if (ret < 0) {
        LOG_ERR("Failed to mount filesystem: %d", ret);
        
        // Try to format if mount failed
        LOG_WRN("Attempting to format storage...");
        ret = fs_mkfs(FS_LITTLEFS, (uintptr_t)FIXED_PARTITION_ID(storage_partition), &storage, 0);
        if (ret < 0) {
            LOG_ERR("Failed to format filesystem: %d", ret);
            return false;
        }
        
        // Try mounting again
        ret = fs_mount(&fs_mnt);
        if (ret < 0) {
            LOG_ERR("Failed to mount formatted filesystem: %d", ret);
            return false;
        }
    }
    
    LOG_INF("Filesystem mounted at %s", fs_mnt.mnt_point);
    */
    
    /* Directory creation code also disabled
    // Create ROMs directory if it doesn't exist
    struct fs_file_t file;
    fs_file_t_init(&file);
    
    ret = fs_open(&file, "/pcd68/roms", FS_O_READ);
    if (ret < 0) {
        // Directory doesn't exist, create it
        ret = fs_mkdir("/pcd68/roms");
        if (ret < 0) {
            LOG_WRN("Failed to create roms directory: %d", ret);
        } else {
            LOG_INF("Created /pcd68/roms directory");
        }
    } else {
        fs_close(&file);
    }
    
    initialized = true;
    return true;
    */
}

const char* Storage_Zephyr::getFullPath(const char* filename)
{
    snprintf(full_path_buffer, sizeof(full_path_buffer), "/pcd68/roms/%s", filename);
    return full_path_buffer;
}

bool Storage_Zephyr::loadRom(const char* filename, uint8_t* buffer, size_t max_size)
{
    // Storage temporarily disabled - return false to use embedded ROM
    LOG_INF("ROM loading disabled - using embedded ROM pattern");
    return false;
    
    /* Original storage code disabled
    if (!initialized) {
        return false;
    }
    
    const char* full_path = getFullPath(filename);
    
    struct fs_file_t file;
    fs_file_t_init(&file);
    
    int ret = fs_open(&file, full_path, FS_O_READ);
    if (ret < 0) {
        LOG_WRN("Failed to open ROM file %s: %d", filename, ret);
        return false;
    }
    
    // Rest of filesystem code also disabled
    /*
    // Get file size
    struct fs_dirent entry;
    ret = fs_stat(full_path, &entry);
    if (ret < 0) {
        LOG_ERR("Failed to get file stats: %d", ret);
        fs_close(&file);
        return false;
    }
    
    size_t file_size = entry.size;
    if (file_size > max_size) {
        LOG_ERR("ROM file too large: %zu bytes (max %zu)", file_size, max_size);
        fs_close(&file);
        return false;
    }
    
    // Read file
    ssize_t bytes_read = fs_read(&file, buffer, file_size);
    fs_close(&file);
    
    if (bytes_read != (ssize_t)file_size) {
        LOG_ERR("Failed to read complete ROM file: %zd/%zu bytes", bytes_read, file_size);
        return false;
    }
    
    LOG_INF("Loaded ROM %s: %zu bytes", filename, file_size);
    return true;
    */
}

bool Storage_Zephyr::saveFile(const char* filename, const uint8_t* data, size_t size)
{
    if (!initialized) {
        return false;
    }
    
    const char* full_path = getFullPath(filename);
    
    struct fs_file_t file;
    fs_file_t_init(&file);
    
    int ret = fs_open(&file, full_path, FS_O_CREATE | FS_O_WRITE | FS_O_TRUNC);
    if (ret < 0) {
        LOG_ERR("Failed to create file %s: %d", filename, ret);
        return false;
    }
    
    ssize_t bytes_written = fs_write(&file, data, size);
    fs_close(&file);
    
    if (bytes_written != (ssize_t)size) {
        LOG_ERR("Failed to write complete file: %zd/%zu bytes", bytes_written, size);
        return false;
    }
    
    LOG_INF("Saved file %s: %zu bytes", filename, size);
    return true;
}

bool Storage_Zephyr::loadFile(const char* filename, uint8_t* buffer, size_t max_size, size_t* actual_size)
{
    if (!initialized) {
        return false;
    }
    
    const char* full_path = getFullPath(filename);
    
    struct fs_file_t file;
    fs_file_t_init(&file);
    
    int ret = fs_open(&file, full_path, FS_O_READ);
    if (ret < 0) {
        return false;
    }
    
    ssize_t bytes_read = fs_read(&file, buffer, max_size);
    fs_close(&file);
    
    if (bytes_read < 0) {
        return false;
    }
    
    if (actual_size) {
        *actual_size = bytes_read;
    }
    
    return true;
}

bool Storage_Zephyr::fileExists(const char* filename)
{
    if (!initialized) {
        return false;
    }
    
    const char* full_path = getFullPath(filename);
    
    struct fs_dirent entry;
    return fs_stat(full_path, &entry) == 0;
}

bool Storage_Zephyr::deleteFile(const char* filename)
{
    if (!initialized) {
        return false;
    }
    
    const char* full_path = getFullPath(filename);
    
    int ret = fs_unlink(full_path);
    return ret == 0;
}

bool Storage_Zephyr::listFiles(void (*callback)(const char* filename, size_t size, void* user_data), void* user_data)
{
    if (!initialized || !callback) {
        return false;
    }
    
    struct fs_dir_t dir;
    fs_dir_t_init(&dir);
    
    int ret = fs_opendir(&dir, "/pcd68/roms");
    if (ret < 0) {
        return false;
    }
    
    struct fs_dirent entry;
    while (fs_readdir(&dir, &entry) == 0) {
        if (entry.name[0] == '\0') {
            break;  // End of directory
        }
        
        if (entry.type == FS_DIR_ENTRY_FILE) {
            callback(entry.name, entry.size, user_data);
        }
    }
    
    fs_closedir(&dir);
    return true;
}
```

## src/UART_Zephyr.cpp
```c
/*
 * Zephyr-compatible UART implementation
 * Provides basic UART functionality without file descriptor/networking complexity
 */

#include "UART.h"
#include <zephyr/logging/log.h>

LOG_MODULE_REGISTER(uart, LOG_LEVEL_DBG);

UART::UART(CPU* cpu, uint32_t start, uint32_t memorySize) : Peripheral(start, memorySize) {
    this->cpu = cpu;
    debugMode = false;
    
    // Initialize Zephyr-specific circular buffers
    for (int i = 0; i < 2; i++) {
        rxHead[i] = rxTail[i] = 0;
        txHead[i] = txTail[i] = 0;
        connected[i] = false;
        statusReadCount[i] = 0;
        lastStatusReadReport[i] = 0;
    }
}

void UART::reset() {
    // Reset all registers - simplified for Zephyr
    for (int i = 0; i < 2; i++) {
        // Clear buffers
        rxHead[i] = rxTail[i] = 0;
        txHead[i] = txTail[i] = 0;
    }
}

void UART::setDebugMode(bool enabled) {
    debugMode = enabled;
    if (debugMode) {
        LOG_INF("UART debug mode %s", enabled ? "enabled" : "disabled");
    }
}

u8 UART::read8(u32 addr) {
    if (addr < getBaseAddress() || addr >= getEndAddress()) {
        return 0;
    }
    
    u32 offset = addr - getBaseAddress();
    Channel channel = (offset >= 0x10) ? Channel::UART2 : Channel::UART1;
    int ch = static_cast<int>(channel);
    u8 reg = offset & 0x0F;
    
    switch (reg) {
        case 0x00: // Status register
            statusReadCount[ch]++;
            return getStatusRegister(channel);
            
        case 0x01: // Data register (read)
            if (!rxFifoEmpty(channel)) {
                u8 data = popRxByte(channel);
                if (debugMode) {
                    LOG_DBG("UART%d RX: 0x%02x ('%c')", ch + 1, data, 
                           (data >= 32 && data < 127) ? data : '.');
                }
                return data;
            }
            return 0;
            
        default:
            return 0;
    }
}

void UART::write8(u32 addr, u8 val) {
    if (addr < getBaseAddress() || addr >= getEndAddress()) {
        return;
    }
    
    u32 offset = addr - getBaseAddress();
    Channel channel = (offset >= 0x10) ? Channel::UART2 : Channel::UART1;
    int ch = static_cast<int>(channel);
    u8 reg = offset & 0x0F;
    
    switch (reg) {
        case 0x00: // Control register
            processControlWrite(channel, val);
            break;
            
        case 0x01: // Data register (write)
            if (!txFifoFull(channel)) {
                pushTxByte(channel, val);
                if (debugMode) {
                    LOG_DBG("UART%d TX: 0x%02x ('%c')", ch + 1, val,
                           (val >= 32 && val < 127) ? val : '.');
                }
                
                // In Zephyr, we can echo data back for testing or log it
                // For now, just log transmitted data
                if (val >= 32 && val < 127) {
                    LOG_INF("UART%d: '%c'", ch + 1, val);
                } else {
                    LOG_INF("UART%d: 0x%02x", ch + 1, val);
                }
            }
            break;
    }
}

u16 UART::read16(u32 addr) {
    return (read8(addr) << 8) | read8(addr + 1);
}

void UART::write16(u32 addr, u16 val) {
    write8(addr, (val >> 8) & 0xFF);
    write8(addr + 1, val & 0xFF);
}

// Private helper methods for Zephyr circular buffer implementation
bool UART::rxFifoEmpty(Channel channel) {
    int ch = static_cast<int>(channel);
    return rxHead[ch] == rxTail[ch];
}

bool UART::rxFifoFull(Channel channel) {
    int ch = static_cast<int>(channel);
    return ((rxTail[ch] + 1) % 256) == rxHead[ch];
}

void UART::pushRxByte(Channel channel, u8 byte) {
    int ch = static_cast<int>(channel);
    if (!rxFifoFull(channel)) {
        rxFifo[ch][rxTail[ch]] = byte;
        rxTail[ch] = (rxTail[ch] + 1) % 256;
        updateInterrupts(channel);
    }
}

u8 UART::popRxByte(Channel channel) {
    int ch = static_cast<int>(channel);
    if (!rxFifoEmpty(channel)) {
        u8 byte = rxFifo[ch][rxHead[ch]];
        rxHead[ch] = (rxHead[ch] + 1) % 256;
        return byte;
    }
    return 0;
}

bool UART::txFifoEmpty(Channel channel) {
    int ch = static_cast<int>(channel);
    return txHead[ch] == txTail[ch];
}

bool UART::txFifoFull(Channel channel) {
    int ch = static_cast<int>(channel);
    return ((txTail[ch] + 1) % 256) == txHead[ch];
}

void UART::pushTxByte(Channel channel, u8 byte) {
    int ch = static_cast<int>(channel);
    if (!txFifoFull(channel)) {
        txFifo[ch][txTail[ch]] = byte;
        txTail[ch] = (txTail[ch] + 1) % 256;
        updateInterrupts(channel);
    }
}

u8 UART::popTxByte(Channel channel) {
    int ch = static_cast<int>(channel);
    if (!txFifoEmpty(channel)) {
        u8 byte = txFifo[ch][txHead[ch]];
        txHead[ch] = (txHead[ch] + 1) % 256;
        return byte;
    }
    return 0;
}

u8 UART::getStatusRegister(Channel channel) {
    int ch = static_cast<int>(channel);
    u8 status = 0;
    
    // Set status bits based on FIFO states
    if (!txFifoFull(channel)) {
        status |= 0x01; // TX ready
    }
    if (!rxFifoEmpty(channel)) {
        status |= 0x02; // RX data available
    }
    if (connected[ch]) {
        status |= 0x04; // Connected
    }
    
    return status;
}

void UART::updateInterrupts(Channel channel) {
    // For Zephyr, interrupts are handled differently
    // This is a simplified implementation
}

void UART::processControlWrite(Channel channel, u8 value) {
    int ch = static_cast<int>(channel);
    
    if (debugMode) {
        LOG_DBG("UART%d control write: 0x%02x", ch + 1, value);
    }
    
    // Process control register bits as needed
    // This is a simplified implementation for Zephyr
}
```
